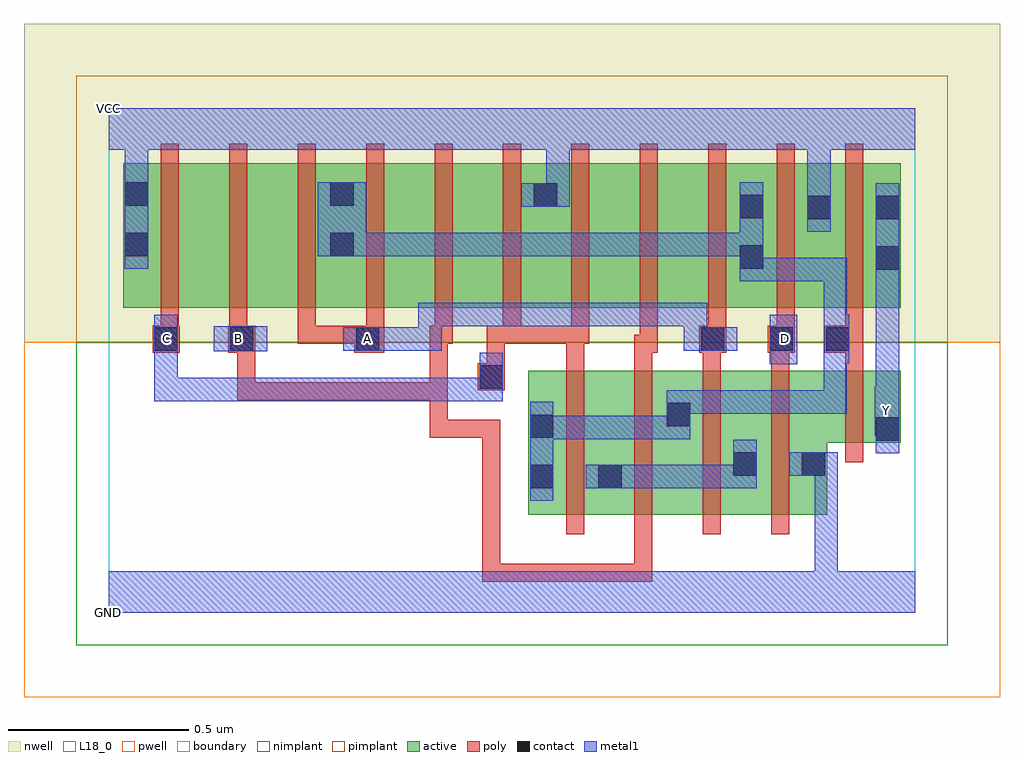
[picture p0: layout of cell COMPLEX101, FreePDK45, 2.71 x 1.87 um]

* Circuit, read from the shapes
.subckt COMPLEX101 A B C D GND VCC Y
M1 n1 C n2 VSUBS nfet w=0.4u l=0.05u
M2 n2 B n1 VSUBS nfet w=0.4u l=0.05u
M3 n1 A n2 VSUBS nfet w=0.4u l=0.05u
M4 GND D n1 VSUBS nfet w=0.4u l=0.05u
M5 Y n2 GND VSUBS nfet w=0.2u l=0.05u
M6 n3 C VCC n4 pfet w=0.4u l=0.05u
M7 n5 B n3 n4 pfet w=0.4u l=0.05u
M8 n2 A n5 n4 pfet w=0.4u l=0.05u
M9 n6 A n2 n4 pfet w=0.4u l=0.05u
M10 n7 B n6 n4 pfet w=0.4u l=0.05u
M11 VCC C n7 n4 pfet w=0.4u l=0.05u
M12 n8 C VCC n4 pfet w=0.4u l=0.05u
M13 n9 B n8 n4 pfet w=0.4u l=0.05u
M14 n2 A n9 n4 pfet w=0.4u l=0.05u
M15 VCC D n2 n4 pfet w=0.4u l=0.05u
M16 Y n2 VCC n4 pfet w=0.4u l=0.05u
.ends

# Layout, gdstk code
import gdstk
lib = gdstk.Library(unit=1e-6, precision=1e-09)
def R(c, l, rs):  # rectangles x0, y0, x1, y1
    for r in rs: c.add(gdstk.rectangle(r[:2], r[2:], *l))
def A(c, l, x, y, w, h, nx, ny, dx, dy):  # array of equal rectangles
    R(c, l, [(x+i*dx, y+j*dy, x+i*dx+w, y+j*dy+h) for i in range(nx) for j in range(ny)])
active = (1, 0)
pwell = (2, 0)
nwell = (3, 0)
nimplant = (4, 0)
pimplant = (5, 0)
poly = (9, 0)
contact = (10, 0)
metal1 = (11, 0)
L18_0 = (18, 0)
boundary = (235, 0)

complex101 = lib.new_cell('COMPLEX101')
A(complex101, active, 0.265, 0.847, 0.19, 0.4, 3, 1, 0.57, 0)
R(complex101, active, [(1.165,0.272,1.43,0.672), (1.355,0.272,1.62,0.672), (1.545,0.272,1.805,0.672), (1.73,0.272,1.995,0.672), (1.92,0.272,1.995,0.597), (1.165,0.295,1.24,0.672), (1.355,0.295,1.43,0.537), (1.545,0.295,1.62,0.672), (1.73,0.295,1.805,0.597), (1.92,0.472,2.2,0.672), (2.125,0.472,2.2,0.672), (0.04,0.847,0.265,1.247), (0.04,0.847,0.115,1.205), (0.455,0.847,0.685,1.247), (0.61,0.847,0.835,1.247), (1.025,0.847,1.25,1.247), (1.175,0.847,1.405,1.247), (1.595,0.847,1.822,1.247), (1.747,0.847,2.01,1.247), (1.935,0.847,2.2,1.247), (2.125,0.847,2.2,1.2), (0.61,0.907,0.685,1.2), (1.175,0.907,1.25,1.205), (1.747,0.907,1.822,1.2), (1.935,0.907,2.01,1.205)])
R(complex101, pwell, [(-0.235,-0.235,2.475,0.75)])
R(complex101, nwell, [(-0.235,0.75,2.475,1.635)])
R(complex101, nimplant, [(-0.09,-0.09,2.33,0.75)])
R(complex101, pimplant, [(-0.09,0.75,2.33,1.49)])
A(complex101, poly, 1.27, 0.217, 0.05, 0.51, 4, 1, 0.19, 0)
A(complex101, poly, 1.46, 0.677, 0.05, 0.095, 3, 1, 0.19, 0)
A(complex101, poly, 0.145, 0.747, 0.05, 0.095, 7, 1, 0.19, 0)
A(complex101, poly, 1.665, 0.747, 0.05, 0.095, 3, 1, 0.19, 0)
A(complex101, poly, 0.145, 0.792, 0.05, 0.51, 11, 1, 0.19, 0)
R(complex101, poly, [(1.037,0.085,1.087,0.135), (1.037,0.085,1.087,0.135), (1.037,0.085,1.087,0.135), (1.037,0.085,1.277,0.135), (1.037,0.085,1.087,0.535), (1.227,0.085,1.277,0.135), (1.227,0.085,1.277,0.135), (1.227,0.085,1.277,0.135), (1.227,0.085,1.51,0.135), (1.46,0.085,1.51,0.267), (1.46,0.085,1.51,0.135), (1.46,0.085,1.51,0.135), (1.46,0.085,1.51,0.135), (2.045,0.417,2.095,0.727), (0.892,0.485,0.942,0.64), (0.892,0.485,1.087,0.535), (1.037,0.485,1.087,0.535), (0.357,0.59,0.407,0.772), (0.357,0.59,0.407,0.64), (0.357,0.59,0.54,0.64), (0.49,0.59,0.54,0.64), (0.49,0.59,0.54,0.64), (0.49,0.59,0.54,0.64), (0.49,0.59,0.707,0.64), (0.657,0.59,0.707,0.64), (0.657,0.59,0.707,0.64), (0.657,0.59,0.707,0.64), (0.657,0.59,0.942,0.64), (0.892,0.59,0.942,0.64), (0.892,0.59,0.942,0.64), (0.892,0.59,0.942,0.64), (0.892,0.59,0.942,0.64), (0.892,0.59,0.942,0.64), (0.892,0.59,0.942,0.64), (0.892,0.59,0.942,0.64), (0.892,0.59,0.942,0.64), (0.892,0.59,0.942,0.797), (1.025,0.617,1.1,0.692), (1.05,0.642,1.1,0.797), (1.27,0.677,1.32,0.797), (2.045,0.677,2.095,0.772), (0.122,0.722,0.197,0.797), (0.332,0.722,0.407,0.797), (0.357,0.722,0.407,0.772), (0.357,0.722,0.407,0.772), (0.682,0.722,0.765,0.797), (1.46,0.722,1.525,0.772), (1.475,0.722,1.525,0.842), (1.64,0.722,1.715,0.797), (1.83,0.722,1.905,0.797), (1.987,0.722,2.095,0.797), (0.525,0.747,0.575,0.797), (0.525,0.747,0.732,0.797), (0.682,0.747,0.732,0.797), (0.682,0.747,0.732,0.797), (0.892,0.747,0.955,0.797), (1.05,0.747,1.115,0.797), (1.065,0.747,1.115,0.797), (1.065,0.747,1.145,0.797), (1.095,0.747,1.32,0.797), (1.27,0.747,1.335,0.797), (1.27,0.747,1.32,0.797), (1.27,0.747,1.32,0.797)])
R(complex101, contact, [(1.17,0.345,1.235,0.41), (1.36,0.345,1.425,0.41), (1.735,0.38,1.8,0.445), (1.925,0.38,1.99,0.445), (2.13,0.477,2.195,0.542), (1.17,0.485,1.235,0.55), (1.55,0.517,1.615,0.582), (1.03,0.622,1.095,0.687), (0.127,0.727,0.192,0.792), (0.337,0.727,0.402,0.792), (0.687,0.727,0.752,0.792), (1.645,0.727,1.71,0.792), (1.835,0.727,1.9,0.792), (1.992,0.727,2.057,0.792), (2.13,0.952,2.195,1.017), (1.752,0.955,1.817,1.02), (0.045,0.99,0.11,1.055), (0.615,0.99,0.68,1.055), (1.94,1.092,2.005,1.157), (2.13,1.092,2.195,1.157), (1.752,1.095,1.817,1.16), (1.18,1.127,1.245,1.192), (0.045,1.13,0.11,1.195), (0.615,1.13,0.68,1.195)])
R(complex101, metal1, [(0,0,2.24,0.115), (1.96,0.05,2.025,0.445), (1.17,0.31,1.235,0.585), (1.325,0.345,1.46,0.41), (1.395,0.345,1.46,0.41), (1.395,0.345,1.46,0.41), (1.395,0.345,1.597,0.41), (1.532,0.345,1.597,0.41), (1.532,0.345,1.68,0.41), (1.615,0.345,1.68,0.41), (1.615,0.345,1.8,0.41), (1.735,0.345,1.8,0.48), (1.89,0.38,2.025,0.445), (1.96,0.38,2.025,0.445), (1.96,0.38,2.025,0.445), (2.13,0.442,2.195,0.577), (1.17,0.482,1.235,0.547), (1.17,0.482,1.235,0.547), (1.17,0.482,1.46,0.547), (1.395,0.482,1.46,0.547), (1.395,0.482,1.46,0.547), (1.395,0.482,1.46,0.547), (1.395,0.482,1.615,0.547), (1.55,0.482,1.615,0.617), (2.127,0.492,2.195,0.627), (2.13,0.492,2.195,0.557), (1.55,0.552,1.615,0.617), (1.55,0.552,1.615,0.617), (1.55,0.552,1.817,0.617), (1.752,0.552,1.817,0.617), (1.752,0.552,1.817,0.617), (1.752,0.552,1.817,0.617), (1.752,0.552,2.05,0.617), (1.985,0.552,2.05,0.617), (1.985,0.552,2.05,0.757), (2.13,0.562,2.195,0.982), (0.127,0.587,0.192,0.652), (0.127,0.587,0.33,0.652), (0.127,0.587,0.192,0.757), (0.265,0.587,0.33,0.652), (0.265,0.587,0.33,0.652), (0.265,0.587,0.33,0.652), (0.265,0.587,0.467,0.652), (0.402,0.587,0.467,0.652), (0.402,0.587,0.467,0.652), (0.402,0.587,0.467,0.652), (0.402,0.587,0.605,0.652), (0.54,0.587,0.605,0.652), (0.54,0.587,0.925,0.652), (0.86,0.587,0.925,0.652), (0.86,0.587,0.925,0.652), (0.86,0.587,0.925,0.652), (0.86,0.587,1.072,0.652), (1.007,0.587,1.072,0.652), (1.007,0.587,1.072,0.652), (1.007,0.587,1.072,0.652), (1.007,0.587,1.095,0.652), (1.03,0.587,1.095,0.722), (1.835,0.69,1.912,0.827), (0.127,0.692,0.192,0.757), (0.127,0.692,0.192,0.757), (0.127,0.692,0.192,0.827), (1.985,0.692,2.05,0.757), (1.985,0.692,2.057,0.757), (1.985,0.692,2.05,0.985), (1.992,0.692,2.057,0.827), (0.292,0.725,0.44,0.795), (0.652,0.727,0.787,0.792), (0.722,0.727,0.925,0.792), (0.86,0.727,0.925,0.792), (0.86,0.727,0.925,0.792), (0.86,0.727,0.925,0.86), (1.597,0.727,1.675,0.792), (1.597,0.727,1.662,0.86), (1.61,0.727,1.745,0.792), (0.86,0.795,1.072,0.86), (1.007,0.795,1.072,0.86), (1.007,0.795,1.072,0.86), (1.007,0.795,1.072,0.86), (1.007,0.795,1.252,0.86), (1.187,0.795,1.252,0.86), (1.187,0.795,1.252,0.86), (1.187,0.795,1.252,0.86), (1.187,0.795,1.46,0.86), (1.395,0.795,1.46,0.86), (1.395,0.795,1.46,0.86), (1.395,0.795,1.46,0.86), (1.395,0.795,1.662,0.86), (2.13,0.917,2.195,1.192), (1.752,0.92,1.817,1.195), (1.752,0.92,1.817,0.985), (1.752,0.92,1.817,0.985), (1.752,0.92,2.05,0.985), (1.985,0.92,2.05,0.985), (0.045,0.955,0.11,1.23), (0.58,0.99,0.715,1.195), (0.65,0.99,0.715,1.055), (0.65,0.99,0.715,1.055), (0.65,0.99,0.935,1.055), (0.87,0.99,0.935,1.055), (0.87,0.99,0.935,1.055), (0.87,0.99,0.935,1.055), (0.87,0.99,1.072,1.055), (1.007,0.99,1.072,1.055), (1.007,0.99,1.072,1.055), (1.007,0.99,1.072,1.055), (1.007,0.99,1.21,1.055), (1.145,0.99,1.21,1.055), (1.145,0.99,1.21,1.055), (1.145,0.99,1.21,1.055), (1.145,0.99,1.46,1.055), (1.395,0.99,1.46,1.055), (1.395,0.99,1.46,1.055), (1.395,0.99,1.46,1.055), (1.395,0.99,1.597,1.055), (1.532,0.99,1.597,1.055), (1.532,0.99,1.597,1.055), (1.532,0.99,1.597,1.055), (1.532,0.99,1.817,1.055), (1.94,1.057,2.005,1.192), (1.145,1.127,1.28,1.192), (1.215,1.127,1.28,1.35), (1.94,1.127,2.005,1.35), (0.045,1.165,0.11,1.35), (0,1.285,2.24,1.4)])
R(complex101, L18_0, [(0,0,2.24,0.115), (1.96,0.05,2.025,0.445), (1.89,0.38,2.025,0.445), (1.96,0.38,2.025,0.445), (1.96,0.38,2.025,0.445), (2.13,0.442,2.195,0.577), (2.127,0.492,2.195,0.627), (2.13,0.492,2.195,0.557), (2.127,0.527,2.192,0.592), (2.13,0.562,2.195,0.982), (0.127,0.587,0.192,0.652), (0.127,0.587,0.192,0.757), (0.127,0.587,0.33,0.652), (0.265,0.587,0.33,0.652), (0.265,0.587,0.33,0.652), (0.265,0.587,0.33,0.652), (0.265,0.587,0.467,0.652), (0.402,0.587,0.467,0.652), (0.402,0.587,0.467,0.652), (0.402,0.587,0.467,0.652), (0.402,0.587,0.605,0.652), (0.54,0.587,0.605,0.652), (0.54,0.587,0.925,0.652), (0.86,0.587,0.925,0.652), (0.86,0.587,0.925,0.652), (0.86,0.587,0.925,0.652), (0.86,0.587,1.072,0.652), (1.007,0.587,1.072,0.652), (1.007,0.587,1.072,0.652), (1.007,0.587,1.072,0.652), (1.007,0.587,1.095,0.652), (1.03,0.587,1.095,0.722), (1.835,0.69,1.912,0.827), (0.127,0.692,0.192,0.827), (0.127,0.692,0.192,0.757), (0.127,0.692,0.192,0.757), (0.292,0.725,0.44,0.795), (0.127,0.727,0.192,0.792), (0.327,0.727,0.392,0.792), (0.652,0.727,0.787,0.792), (0.687,0.727,0.752,0.792), (0.722,0.727,0.925,0.792), (0.86,0.727,0.925,0.792), (0.86,0.727,0.925,0.792), (0.86,0.727,0.925,0.86), (1.597,0.727,1.662,0.86), (1.597,0.727,1.675,0.792), (1.61,0.727,1.745,0.792), (1.847,0.727,1.912,0.792), (0.86,0.795,1.072,0.86), (1.007,0.795,1.072,0.86), (1.007,0.795,1.072,0.86), (1.007,0.795,1.072,0.86), (1.007,0.795,1.252,0.86), (1.187,0.795,1.252,0.86), (1.187,0.795,1.252,0.86), (1.187,0.795,1.252,0.86), (1.187,0.795,1.46,0.86), (1.395,0.795,1.46,0.86), (1.395,0.795,1.46,0.86), (1.395,0.795,1.46,0.86), (1.395,0.795,1.662,0.86), (2.13,0.917,2.195,1.192), (0.045,0.955,0.11,1.23), (1.94,1.057,2.005,1.192), (1.145,1.127,1.28,1.192), (1.215,1.127,1.28,1.35), (1.94,1.127,2.005,1.35), (0.045,1.165,0.11,1.35), (0,1.285,2.24,1.4)])
R(complex101, boundary, [(0,0,2.24,1.4)])
complex101.add(gdstk.Label('A', (0.72,0.76), layer=11, texttype=0))
complex101.add(gdstk.Label('B', (0.36,0.76), layer=11, texttype=0))
complex101.add(gdstk.Label('C', (0.16,0.76), layer=11, texttype=0))
complex101.add(gdstk.Label('D', (1.88,0.76), layer=11, texttype=0))
complex101.add(gdstk.Label('Y', (2.16,0.56), layer=11, texttype=0))
complex101.add(gdstk.Label('VCC', (0,1.4), layer=11, texttype=0))
complex101.add(gdstk.Label('GND', (0,0), layer=11, texttype=0))

lib.write_gds('COMPLEX101.gds')
